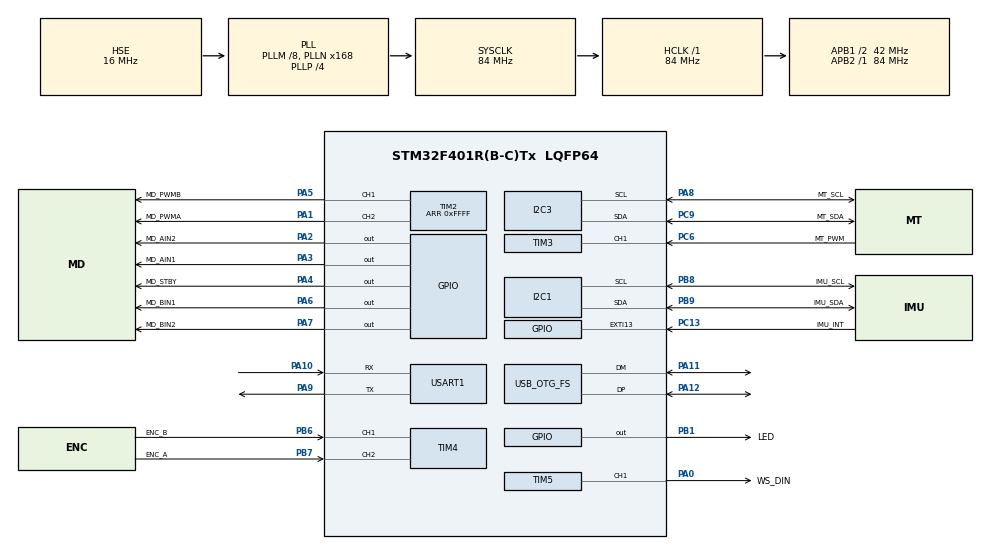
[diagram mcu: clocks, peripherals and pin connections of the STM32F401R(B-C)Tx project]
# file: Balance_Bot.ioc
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Dma.I2C1_RX.1.Direction=DMA_PERIPH_TO_MEMORY
Dma.I2C1_RX.1.FIFOMode=DMA_FIFOMODE_DISABLE
Dma.I2C1_RX.1.Instance=DMA1_Stream0
Dma.I2C1_RX.1.MemDataAlignment=DMA_MDATAALIGN_BYTE
Dma.I2C1_RX.1.MemInc=DMA_MINC_ENABLE
Dma.I2C1_RX.1.Mode=DMA_NORMAL
Dma.I2C1_RX.1.PeriphDataAlignment=DMA_PDATAALIGN_BYTE
Dma.I2C1_RX.1.PeriphInc=DMA_PINC_DISABLE
Dma.I2C1_RX.1.Priority=DMA_PRIORITY_LOW
Dma.I2C1_TX.0.Direction=DMA_MEMORY_TO_PERIPH
Dma.I2C1_TX.0.FIFOMode=DMA_FIFOMODE_DISABLE
Dma.I2C1_TX.0.Instance=DMA1_Stream6
Dma.I2C1_TX.0.MemDataAlignment=DMA_MDATAALIGN_BYTE
Dma.I2C1_TX.0.MemInc=DMA_MINC_ENABLE
Dma.I2C1_TX.0.Mode=DMA_NORMAL
Dma.I2C1_TX.0.PeriphDataAlignment=DMA_PDATAALIGN_BYTE
Dma.I2C1_TX.0.PeriphInc=DMA_PINC_DISABLE
Dma.I2C1_TX.0.Priority=DMA_PRIORITY_LOW
Dma.Request0=I2C1_TX
Dma.Request1=I2C1_RX
Dma.Request2=USART1_TX
Dma.USART1_TX.2.Direction=DMA_MEMORY_TO_PERIPH
Dma.USART1_TX.2.FIFOMode=DMA_FIFOMODE_DISABLE
Dma.USART1_TX.2.Instance=DMA2_Stream7
Dma.USART1_TX.2.MemDataAlignment=DMA_MDATAALIGN_BYTE
Dma.USART1_TX.2.MemInc=DMA_MINC_ENABLE
Dma.USART1_TX.2.Mode=DMA_NORMAL
Dma.USART1_TX.2.PeriphDataAlignment=DMA_PDATAALIGN_BYTE
Dma.USART1_TX.2.PeriphInc=DMA_PINC_DISABLE
Dma.USART1_TX.2.Priority=DMA_PRIORITY_LOW
I2C1.I2C_Mode=I2C_Fast
Mcu.Family=STM32F4
Mcu.Name=STM32F401R(B-C)Tx
Mcu.Package=LQFP64
Mcu.UserConstants=WS2812_0,29;WS2812_1,59;MT6701_MIN_PWM,10;MT6701_MAX_PWM,42155
NVIC.DMA1_Stream0_IRQn=true\:0\:0\:false\:false\:true\:false\:true\:true
NVIC.DMA1_Stream6_IRQn=true\:0\:0\:false\:false\:true\:false\:true\:true
NVIC.DMA2_Stream7_IRQn=true\:0\:0\:false\:false\:true\:false\:true\:true
NVIC.EXTI15_10_IRQn=true\:0\:0\:false\:false\:true\:true\:true\:true
NVIC.I2C1_ER_IRQn=true\:0\:0\:false\:false\:true\:true\:true\:true
NVIC.I2C1_EV_IRQn=true\:0\:0\:false\:false\:true\:true\:true\:true
NVIC.OTG_FS_IRQn=true\:0\:0\:false\:false\:true\:false\:true\:true
NVIC.PriorityGroup=NVIC_PRIORITYGROUP_4
NVIC.TIM3_IRQn=true\:0\:0\:false\:false\:true\:true\:true\:true
NVIC.TIM5_IRQn=true\:0\:0\:false\:false\:true\:true\:true\:true
NVIC.USART1_IRQn=true\:0\:0\:false\:false\:true\:true\:true\:true
PA0-WKUP.GPIO_Label=WS_DIN
PA0-WKUP.Signal=S_TIM5_CH1
PA1.GPIO_Label=MD_PWMA
PA1.Signal=S_TIM2_CH2
PA10.Mode=Asynchronous
PA10.Signal=USART1_RX
PA11.Mode=Device_Only
PA11.Signal=USB_OTG_FS_DM
PA12.Mode=Device_Only
PA12.Signal=USB_OTG_FS_DP
PA13.Mode=Serial_Wire
PA13.Signal=SYS_JTMS-SWDIO
PA14.Mode=Serial_Wire
PA14.Signal=SYS_JTCK-SWCLK
PA2.GPIO_Label=MD_AIN2
PA2.Signal=GPIO_Output
PA3.GPIO_Label=MD_AIN1
PA3.Signal=GPIO_Output
PA4.GPIO_Label=MD_STBY
PA4.Signal=GPIO_Output
PA5.GPIO_Label=MD_PWMB
PA5.Signal=S_TIM2_CH1_ETR
PA6.GPIO_Label=MD_BIN1
PA6.Signal=GPIO_Output
PA7.GPIO_Label=MD_BIN2
PA7.Signal=GPIO_Output
PA8.GPIO_Label=MT_SCL
PA8.Mode=I2C
PA8.Signal=I2C3_SCL
PA9.Mode=Asynchronous
PA9.Signal=USART1_TX
PB1.GPIO_Label=LED
PB1.Signal=GPIO_Output
PB6.GPIO_Label=ENC_B
PB6.Signal=S_TIM4_CH1
PB7.GPIO_Label=ENC_A
PB7.Signal=S_TIM4_CH2
PB8.GPIO_Label=IMU_SCL
PB8.Mode=I2C
PB8.Signal=I2C1_SCL
PB9.GPIO_Label=IMU_SDA
PB9.Mode=I2C
PB9.Signal=I2C1_SDA
PC13-ANTI_TAMP.GPIO_Label=IMU_INT
PC13-ANTI_TAMP.Signal=GPXTI13
PC6.GPIO_Label=MT_PWM
PC6.Signal=S_TIM3_CH1
PC9.GPIO_Label=MT_SDA
PC9.Mode=I2C
PC9.Signal=I2C3_SDA
PH0\ -\ OSC_IN.Mode=HSE-External-Oscillator
PH0\ -\ OSC_IN.Signal=RCC_OSC_IN
PH1\ -\ OSC_OUT.Mode=HSE-External-Oscillator
PH1\ -\ OSC_OUT.Signal=RCC_OSC_OUT
ProjectManager.HeapSize=0x200
ProjectManager.StackSize=0x400
ProjectManager.TargetToolchain=STM32CubeIDE
RCC.48MHZClocksFreq_Value=48000000
RCC.AHBFreq_Value=84000000
RCC.APB1CLKDivider=RCC_HCLK_DIV2
RCC.APB1Freq_Value=42000000
RCC.APB1TimFreq_Value=84000000
RCC.APB2Freq_Value=84000000
RCC.APB2TimFreq_Value=84000000
RCC.CortexFreq_Value=84000000
RCC.EnbaleCSS=true
RCC.HCLKFreq_Value=84000000
RCC.HSE_VALUE=16000000
RCC.HSI_VALUE=16000000
RCC.LSE_VALUE=32768
RCC.PLLM=8
RCC.PLLN=168
RCC.PLLP=RCC_PLLP_DIV4
RCC.PLLQ=7
RCC.SYSCLKFreq_VALUE=84000000
RCC.SYSCLKSource=RCC_SYSCLKSOURCE_PLLCLK
RCC.VCOOutputFreq_Value=336000000
SH.S_TIM2_CH1_ETR.0=TIM2_CH1,PWM Generation1 CH1
SH.S_TIM2_CH2.0=TIM2_CH2,PWM Generation2 CH2
SH.S_TIM3_CH1.0=TIM3_CH1,Input_Capture1_from_TI1
SH.S_TIM4_CH1.0=TIM4_CH1,Encoder_Interface
SH.S_TIM4_CH2.0=TIM4_CH2,Encoder_Interface
SH.S_TIM5_CH1.0=TIM5_CH1,PWM Generation1 CH1
TIM2.Channel-PWM\ Generation1\ CH1=TIM_CHANNEL_1
TIM2.Channel-PWM\ Generation2\ CH2=TIM_CHANNEL_2
TIM2.Period=0xFFFF
TIM3.Channel-Input_Capture1_from_TI1=TIM_CHANNEL_1
TIM3.Channel-Input_Capture2_from_TI1_63=TIM_CHANNEL_2
TIM3.ICPolarity_CH2=TIM_INPUTCHANNELPOLARITY_FALLING
TIM3.Prescaler=1
TIM5.Channel-PWM\ Generation1\ CH1=TIM_CHANNEL_1
TIM5.OCMode_PWM-PWM\ Generation1\ CH1=TIM_OCMODE_PWM2
TIM5.Period=105-1
USART1.VirtualMode=VM_ASYNC
USB_DEVICE.CLASS_NAME_FS=CDC
USB_DEVICE.USBD_MAX_STR_DESC_SIZ=1024
USB_DEVICE.VirtualMode=Cdc
USB_DEVICE.VirtualModeFS=Cdc_FS
USB_OTG_FS.VirtualMode=Device_Only
VP_TIM2_VS_ClockSourceINT.Mode=Internal
VP_TIM3_VS_ClockSourceINT.Mode=Internal
VP_TIM5_VS_ClockSourceINT.Mode=Internal
VP_TIM5_VS_OPM.Mode=OPM_bit
VP_USB_DEVICE_VS_USB_DEVICE_CDC_FS.Mode=CDC_FS
board=custom

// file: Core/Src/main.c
/* USER CODE BEGIN Header */
/**
  ******************************************************************************
  * @file           : main.c
  * @brief          : Main program body
  ******************************************************************************
  * @attention
  *
  * Copyright (c) 2026 STMicroelectronics.
  * All rights reserved.
  *
  * This software is licensed under terms that can be found in the LICENSE file
  * in the root directory of this software component.
  * If no LICENSE file comes with this software, it is provided AS-IS.
  *
  ******************************************************************************
  */
/* USER CODE END Header */
#include "main.h"
#include "usb_device.h"

/* USER CODE BEGIN Includes */

#include <stdio.h>
#include "WS2812.h"
#include "motor.h"
#include "usbd_cdc_if.h"
#include "MPU6050.h"

/* USER CODE END Includes */

/* USER CODE BEGIN PD */
#define AVERAGE_COUNT 512

#define ACCEL_OFFSET_X (243)
#define ACCEL_OFFSET_Y (-43)
#define ACCEL_OFFSET_Z (8192 - 9732)

#define GYRO_OFFSET_X (-420)
#define GYRO_OFFSET_Y (-240)
#define GYRO_OFFSET_Z (-13)

#define ACCEL_WEIGHT 5

/* USER CODE END PD */

I2C_HandleTypeDef hi2c1;
I2C_HandleTypeDef hi2c3;
DMA_HandleTypeDef hdma_i2c1_tx;
DMA_HandleTypeDef hdma_i2c1_rx;

TIM_HandleTypeDef htim2;
TIM_HandleTypeDef htim3;
TIM_HandleTypeDef htim4;
TIM_HandleTypeDef htim5;

UART_HandleTypeDef huart1;
DMA_HandleTypeDef hdma_usart1_tx;

void SystemClock_Config(void);
static void MX_GPIO_Init(void);
static void MX_DMA_Init(void);
static void MX_TIM5_Init(void);
static void MX_I2C1_Init(void);
static void MX_I2C3_Init(void);
static void MX_TIM2_Init(void);
static void MX_TIM3_Init(void);
static void MX_TIM4_Init(void);
static void MX_USART1_UART_Init(void);

/* USER CODE BEGIN 0 */

ws2812_t ws2812;

int32_t rot_enc_pos;

float hall_enc_angle;

motor_t motors[2];

mpu6050_t mpu;

uint8_t uart_rx_byte = 0;
char uart_tx_buffer[1024];

/* USER CODE END 0 */

int main(void)
{

  /* MCU Configuration--------------------------------------------------------*/

  /* Reset of all peripherals, Initializes the Flash interface and the Systick. */
  HAL_Init();

  /* Configure the system clock */
  SystemClock_Config();

  /* Initialize all configured peripherals */
  MX_GPIO_Init();
  MX_DMA_Init();
  MX_TIM5_Init();
  MX_I2C1_Init();
  MX_I2C3_Init();
  MX_TIM2_Init();
  MX_TIM3_Init();
  MX_TIM4_Init();
  MX_USART1_UART_Init();
  MX_USB_DEVICE_Init();
  /* USER CODE BEGIN 2 */

  // RGB Color cube vars
  const uint32_t color_cube_period = 10; // ms
  uint32_t color_cube_lasttime = 0;
  uint32_t cube_idx = 0;
  uint8_t colors[3] = {0};
  colors[0] = 255;
  ws2812_init(&ws2812, &htim5, 0);
  ws2812_set_color(&ws2812, colors[0], colors[1], colors[2]);

  // Hall encoder
  HAL_TIM_Encoder_Start_IT(&htim4, TIM_CHANNEL_ALL);

  // Mag encoder
  HAL_TIM_IC_Start(&htim3, TIM_CHANNEL_1);
  HAL_TIM_IC_Start_IT(&htim3, TIM_CHANNEL_2);

  // Motors
  motor_init(&(motors[0]), MD_AIN1_GPIO_Port, MD_AIN1_Pin, MD_AIN2_GPIO_Port, MD_AIN2_Pin, &htim2, 1, 0);
  motor_init(&(motors[1]), MD_BIN1_GPIO_Port, MD_BIN1_Pin, MD_BIN2_GPIO_Port, MD_BIN2_Pin, &htim2, 0, 1);
  HAL_GPIO_WritePin(MD_STBY_GPIO_Port, MD_STBY_Pin, 1);

  // MPU6050
  mpu6050_config_t mpu_config = {
		  .config = {
			  .Accel_Full_Scale = AFS_SEL_4g,
			  .CONFIG_DLPF = 6,
			  .ClockSource = 0,
			  .Gyro_Full_Scale = FS_SEL_500,
			  .Sleep_Mode_Bit = 0
		  },
		  .hi2c = &hi2c1,
		  .address = MPU_ADDR,
		  .accel_offset = {
				  .x = ACCEL_OFFSET_X,
				  .y = ACCEL_OFFSET_Y,
				  .z = ACCEL_OFFSET_Z
		  },
		  .gyro_offset = {
				  .x = GYRO_OFFSET_X,
				  .y = GYRO_OFFSET_Y,
				  .z = GYRO_OFFSET_Z
		  },
		  .accel_weight = ACCEL_WEIGHT,
		  .calibration_count = 1000
  };
  MPU6050_init(&mpu, &mpu_config);

  // UART RX
  HAL_UART_Receive_IT(&huart1, &uart_rx_byte, 1);

  int32_t motor_speed = 0;
  int32_t motor_turn = 0;
  const int32_t motor_speed_increment = 0x7FFF;

  uint32_t last_telem_time = 0;
  int16_t telem_counter = 0;
  const uint32_t telem_period = 250;

  /* USER CODE END 2 */

  /* Infinite loop */
  /* USER CODE BEGIN WHILE */
  while (1)
  {
	  uint32_t now_time = HAL_GetTick();
	  if(now_time - color_cube_lasttime > color_cube_period){
		  color_cube_lasttime = now_time;
		  uint32_t cube_idx_plus1 = (cube_idx >= 2) ? (0) : (cube_idx + 1);

		  if(colors[cube_idx] > 0) {
			  colors[cube_idx]--;
			  colors[cube_idx_plus1]++;
		  } else{
			  cube_idx = cube_idx_plus1;
		  }

		  ws2812_set_color(&ws2812, colors[0], colors[1], colors[2]);
	  }

	  if(mpu.calibration_done){
		  mpu.calibration_done = 0;
		  printf("Calibration done!\r\n");
		  HAL_Delay(2);
		  printf("\tAccel accumulators: %ld, %ld, %ld\r\n", mpu.accel_calibration_accumulator[0], mpu.accel_calibration_accumulator[1], mpu.accel_calibration_accumulator[2]);
		  HAL_Delay(2);
		  printf("\tGyro accumulators: %ld, %ld, %ld\r\n", mpu.gyro_calibration_accumulator[0], mpu.gyro_calibration_accumulator[1], mpu.gyro_calibration_accumulator[2]);
	  }

	  if(now_time - last_telem_time > telem_period){
		  last_telem_time = now_time;

		  float speed = 0;
		  float roll = 	mpu.current_angle.x;
		  float pitch = mpu.current_angle.y;

	      int len = snprintf(uart_tx_buffer, sizeof(uart_tx_buffer),
	                         "$%.2f,%.2f,%.2f,%d\r\n",
	                         speed, roll, pitch, telem_counter);
	      HAL_UART_Transmit_IT(&huart1, (uint8_t*)uart_tx_buffer, len);

	      telem_counter++;

	  }

	  if(uart_rx_byte){
		  switch(uart_rx_byte){
		  case 'w':
			  motor_speed += motor_speed_increment;
			  break;

		  case 's':
			  motor_speed -= motor_speed_increment;
			  break;

		  case 'a':
			  motor_turn += motor_speed_increment;
			  break;

		  case 'd':
			  motor_turn -= motor_speed_increment;
			  break;

		  case 'x':
			  motor_turn = 0;
			  motor_speed = 0;
			  break;
		  }

		  uart_rx_byte = 0;
		  set_speed(&motors[0], motor_speed - motor_turn);
		  set_speed(&motors[1], motor_speed + motor_turn);
	  }

    /* USER CODE END WHILE */

  }
}

void SystemClock_Config(void)
{
  RCC_OscInitTypeDef RCC_OscInitStruct = {0};
  RCC_ClkInitTypeDef RCC_ClkInitStruct = {0};

  /** Configure the main internal regulator output voltage
  */
  __HAL_RCC_PWR_CLK_ENABLE();
  __HAL_PWR_VOLTAGESCALING_CONFIG(PWR_REGULATOR_VOLTAGE_SCALE2);

  /** Initializes the RCC Oscillators according to the specified parameters
  * in the RCC_OscInitTypeDef structure.
  */
  RCC_OscInitStruct.OscillatorType = RCC_OSCILLATORTYPE_HSE;
  RCC_OscInitStruct.HSEState = RCC_HSE_ON;
  RCC_OscInitStruct.PLL.PLLState = RCC_PLL_ON;
  RCC_OscInitStruct.PLL.PLLSource = RCC_PLLSOURCE_HSE;
  RCC_OscInitStruct.PLL.PLLM = 8;
  RCC_OscInitStruct.PLL.PLLN = 168;
  RCC_OscInitStruct.PLL.PLLP = RCC_PLLP_DIV4;
  RCC_OscInitStruct.PLL.PLLQ = 7;
  if (HAL_RCC_OscConfig(&RCC_OscInitStruct) != HAL_OK)
  {
    Error_Handler();
  }

  /** Initializes the CPU, AHB and APB buses clocks
  */
  RCC_ClkInitStruct.ClockType = RCC_CLOCKTYPE_HCLK|RCC_CLOCKTYPE_SYSCLK
                              |RCC_CLOCKTYPE_PCLK1|RCC_CLOCKTYPE_PCLK2;
  RCC_ClkInitStruct.SYSCLKSource = RCC_SYSCLKSOURCE_PLLCLK;
  RCC_ClkInitStruct.AHBCLKDivider = RCC_SYSCLK_DIV1;
  RCC_ClkInitStruct.APB1CLKDivider = RCC_HCLK_DIV2;
  RCC_ClkInitStruct.APB2CLKDivider = RCC_HCLK_DIV1;

  if (HAL_RCC_ClockConfig(&RCC_ClkInitStruct, FLASH_LATENCY_2) != HAL_OK)
  {
    Error_Handler();
  }

  /** Enables the Clock Security System
  */
  HAL_RCC_EnableCSS();
}

static void MX_I2C1_Init(void)
{

  hi2c1.Instance = I2C1;
  hi2c1.Init.ClockSpeed = 400000;
  hi2c1.Init.DutyCycle = I2C_DUTYCYCLE_2;
  hi2c1.Init.OwnAddress1 = 0;
  hi2c1.Init.AddressingMode = I2C_ADDRESSINGMODE_7BIT;
  hi2c1.Init.DualAddressMode = I2C_DUALADDRESS_DISABLE;
  hi2c1.Init.OwnAddress2 = 0;
  hi2c1.Init.GeneralCallMode = I2C_GENERALCALL_DISABLE;
  hi2c1.Init.NoStretchMode = I2C_NOSTRETCH_DISABLE;
  if (HAL_I2C_Init(&hi2c1) != HAL_OK)
  {
    Error_Handler();
  }

}

static void MX_I2C3_Init(void)
{

  hi2c3.Instance = I2C3;
  hi2c3.Init.ClockSpeed = 100000;
  hi2c3.Init.DutyCycle = I2C_DUTYCYCLE_2;
  hi2c3.Init.OwnAddress1 = 0;
  hi2c3.Init.AddressingMode = I2C_ADDRESSINGMODE_7BIT;
  hi2c3.Init.DualAddressMode = I2C_DUALADDRESS_DISABLE;
  hi2c3.Init.OwnAddress2 = 0;
  hi2c3.Init.GeneralCallMode = I2C_GENERALCALL_DISABLE;
  hi2c3.Init.NoStretchMode = I2C_NOSTRETCH_DISABLE;
  if (HAL_I2C_Init(&hi2c3) != HAL_OK)
  {
    Error_Handler();
  }

}

static void MX_TIM2_Init(void)
{

  TIM_ClockConfigTypeDef sClockSourceConfig = {0};
  TIM_MasterConfigTypeDef sMasterConfig = {0};
  TIM_OC_InitTypeDef sConfigOC = {0};

  htim2.Instance = TIM2;
  htim2.Init.Prescaler = 0;
  htim2.Init.CounterMode = TIM_COUNTERMODE_UP;
  htim2.Init.Period = 0xFFFF;
  htim2.Init.ClockDivision = TIM_CLOCKDIVISION_DIV1;
  htim2.Init.AutoReloadPreload = TIM_AUTORELOAD_PRELOAD_DISABLE;
  if (HAL_TIM_Base_Init(&htim2) != HAL_OK)
  {
    Error_Handler();
  }
  sClockSourceConfig.ClockSource = TIM_CLOCKSOURCE_INTERNAL;
  if (HAL_TIM_ConfigClockSource(&htim2, &sClockSourceConfig) != HAL_OK)
  {
    Error_Handler();
  }
  if (HAL_TIM_PWM_Init(&htim2) != HAL_OK)
  {
    Error_Handler();
  }
  sMasterConfig.MasterOutputTrigger = TIM_TRGO_RESET;
  sMasterConfig.MasterSlaveMode = TIM_MASTERSLAVEMODE_DISABLE;
  if (HAL_TIMEx_MasterConfigSynchronization(&htim2, &sMasterConfig) != HAL_OK)
  {
    Error_Handler();
  }
  sConfigOC.OCMode = TIM_OCMODE_PWM1;
  sConfigOC.Pulse = 0;
  sConfigOC.OCPolarity = TIM_OCPOLARITY_HIGH;
  sConfigOC.OCFastMode = TIM_OCFAST_DISABLE;
  if (HAL_TIM_PWM_ConfigChannel(&htim2, &sConfigOC, TIM_CHANNEL_1) != HAL_OK)
  {
    Error_Handler();
  }
  if (HAL_TIM_PWM_ConfigChannel(&htim2, &sConfigOC, TIM_CHANNEL_2) != HAL_OK)
  {
    Error_Handler();
  }
  HAL_TIM_MspPostInit(&htim2);

}

static void MX_TIM3_Init(void)
{

  TIM_ClockConfigTypeDef sClockSourceConfig = {0};
  TIM_MasterConfigTypeDef sMasterConfig = {0};
  TIM_IC_InitTypeDef sConfigIC = {0};

  htim3.Instance = TIM3;
  htim3.Init.Prescaler = 1;
  htim3.Init.CounterMode = TIM_COUNTERMODE_UP;
  htim3.Init.Period = 65535;
  htim3.Init.ClockDivision = TIM_CLOCKDIVISION_DIV1;
  htim3.Init.AutoReloadPreload = TIM_AUTORELOAD_PRELOAD_DISABLE;
  if (HAL_TIM_Base_Init(&htim3) != HAL_OK)
  {
    Error_Handler();
  }
  sClockSourceConfig.ClockSource = TIM_CLOCKSOURCE_INTERNAL;
  if (HAL_TIM_ConfigClockSource(&htim3, &sClockSourceConfig) != HAL_OK)
  {
    Error_Handler();
  }
  if (HAL_TIM_IC_Init(&htim3) != HAL_OK)
  {
    Error_Handler();
  }
  sMasterConfig.MasterOutputTrigger = TIM_TRGO_RESET;
  sMasterConfig.MasterSlaveMode = TIM_MASTERSLAVEMODE_DISABLE;
  if (HAL_TIMEx_MasterConfigSynchronization(&htim3, &sMasterConfig) != HAL_OK)
  {
    Error_Handler();
  }
  sConfigIC.ICPolarity = TIM_INPUTCHANNELPOLARITY_RISING;
  sConfigIC.ICSelection = TIM_ICSELECTION_DIRECTTI;
  sConfigIC.ICPrescaler = TIM_ICPSC_DIV1;
  sConfigIC.ICFilter = 0;
  if (HAL_TIM_IC_ConfigChannel(&htim3, &sConfigIC, TIM_CHANNEL_1) != HAL_OK)
  {
    Error_Handler();
  }

}

static void MX_TIM4_Init(void)
{

  TIM_Encoder_InitTypeDef sConfig = {0};
  TIM_MasterConfigTypeDef sMasterConfig = {0};

  htim4.Instance = TIM4;
  htim4.Init.Prescaler = 0;
  htim4.Init.CounterMode = TIM_COUNTERMODE_UP;
  htim4.Init.Period = 65535;
  htim4.Init.ClockDivision = TIM_CLOCKDIVISION_DIV1;
  htim4.Init.AutoReloadPreload = TIM_AUTORELOAD_PRELOAD_DISABLE;
  sConfig.EncoderMode = TIM_ENCODERMODE_TI1;
  sConfig.IC1Polarity = TIM_ICPOLARITY_RISING;
  sConfig.IC1Selection = TIM_ICSELECTION_DIRECTTI;
  sConfig.IC1Prescaler = TIM_ICPSC_DIV1;
  sConfig.IC1Filter = 0;
  sConfig.IC2Polarity = TIM_ICPOLARITY_RISING;
  sConfig.IC2Selection = TIM_ICSELECTION_DIRECTTI;
  sConfig.IC2Prescaler = TIM_ICPSC_DIV1;
  sConfig.IC2Filter = 0;
  if (HAL_TIM_Encoder_Init(&htim4, &sConfig) != HAL_OK)
  {
    Error_Handler();
  }
  sMasterConfig.MasterOutputTrigger = TIM_TRGO_RESET;
  sMasterConfig.MasterSlaveMode = TIM_MASTERSLAVEMODE_DISABLE;
  if (HAL_TIMEx_MasterConfigSynchronization(&htim4, &sMasterConfig) != HAL_OK)
  {
    Error_Handler();
  }

}

static void MX_TIM5_Init(void)
{

  TIM_ClockConfigTypeDef sClockSourceConfig = {0};
  TIM_MasterConfigTypeDef sMasterConfig = {0};
  TIM_OC_InitTypeDef sConfigOC = {0};

  htim5.Instance = TIM5;
  htim5.Init.Prescaler = 0;
  htim5.Init.CounterMode = TIM_COUNTERMODE_UP;
  htim5.Init.Period = 105-1;
  htim5.Init.ClockDivision = TIM_CLOCKDIVISION_DIV1;
  htim5.Init.AutoReloadPreload = TIM_AUTORELOAD_PRELOAD_DISABLE;
  if (HAL_TIM_Base_Init(&htim5) != HAL_OK)
  {
    Error_Handler();
  }
  sClockSourceConfig.ClockSource = TIM_CLOCKSOURCE_INTERNAL;
  if (HAL_TIM_ConfigClockSource(&htim5, &sClockSourceConfig) != HAL_OK)
  {
    Error_Handler();
  }
  if (HAL_TIM_PWM_Init(&htim5) != HAL_OK)
  {
    Error_Handler();
  }
  if (HAL_TIM_OnePulse_Init(&htim5, TIM_OPMODE_SINGLE) != HAL_OK)
  {
    Error_Handler();
  }
  sMasterConfig.MasterOutputTrigger = TIM_TRGO_RESET;
  sMasterConfig.MasterSlaveMode = TIM_MASTERSLAVEMODE_DISABLE;
  if (HAL_TIMEx_MasterConfigSynchronization(&htim5, &sMasterConfig) != HAL_OK)
  {
    Error_Handler();
  }
  sConfigOC.OCMode = TIM_OCMODE_PWM2;
  sConfigOC.Pulse = 0;
  sConfigOC.OCPolarity = TIM_OCPOLARITY_HIGH;
  sConfigOC.OCFastMode = TIM_OCFAST_DISABLE;
  if (HAL_TIM_PWM_ConfigChannel(&htim5, &sConfigOC, TIM_CHANNEL_1) != HAL_OK)
  {
    Error_Handler();
  }
  HAL_TIM_MspPostInit(&htim5);

}

static void MX_USART1_UART_Init(void)
{

  huart1.Instance = USART1;
  huart1.Init.BaudRate = 115200;
  huart1.Init.WordLength = UART_WORDLENGTH_8B;
  huart1.Init.StopBits = UART_STOPBITS_1;
  huart1.Init.Parity = UART_PARITY_NONE;
  huart1.Init.Mode = UART_MODE_TX_RX;
  huart1.Init.HwFlowCtl = UART_HWCONTROL_NONE;
  huart1.Init.OverSampling = UART_OVERSAMPLING_16;
  if (HAL_UART_Init(&huart1) != HAL_OK)
  {
    Error_Handler();
  }

}

static void MX_DMA_Init(void)
{

  /* DMA controller clock enable */
  __HAL_RCC_DMA1_CLK_ENABLE();
  __HAL_RCC_DMA2_CLK_ENABLE();

  /* DMA interrupt init */
  /* DMA1_Stream0_IRQn interrupt configuration */
  HAL_NVIC_SetPriority(DMA1_Stream0_IRQn, 0, 0);
  HAL_NVIC_EnableIRQ(DMA1_Stream0_IRQn);
  /* DMA1_Stream6_IRQn interrupt configuration */
  HAL_NVIC_SetPriority(DMA1_Stream6_IRQn, 0, 0);
  HAL_NVIC_EnableIRQ(DMA1_Stream6_IRQn);
  /* DMA2_Stream7_IRQn interrupt configuration */
  HAL_NVIC_SetPriority(DMA2_Stream7_IRQn, 0, 0);
  HAL_NVIC_EnableIRQ(DMA2_Stream7_IRQn);

}

static void MX_GPIO_Init(void)
{
  GPIO_InitTypeDef GPIO_InitStruct = {0};

  /* GPIO Ports Clock Enable */
  __HAL_RCC_GPIOC_CLK_ENABLE();
  __HAL_RCC_GPIOH_CLK_ENABLE();
  __HAL_RCC_GPIOA_CLK_ENABLE();
  __HAL_RCC_GPIOB_CLK_ENABLE();

  /*Configure GPIO pin Output Level */
  HAL_GPIO_WritePin(GPIOA, MD_AIN2_Pin|MD_AIN1_Pin|MD_STBY_Pin|MD_BIN1_Pin
                          |MD_BIN2_Pin, GPIO_PIN_RESET);

  /*Configure GPIO pin Output Level */
  HAL_GPIO_WritePin(LED_GPIO_Port, LED_Pin, GPIO_PIN_RESET);

  /*Configure GPIO pin : IMU_INT_Pin */
  GPIO_InitStruct.Pin = IMU_INT_Pin;
  GPIO_InitStruct.Mode = GPIO_MODE_IT_RISING;
  GPIO_InitStruct.Pull = GPIO_NOPULL;
  HAL_GPIO_Init(IMU_INT_GPIO_Port, &GPIO_InitStruct);

  /*Configure GPIO pins : MD_AIN2_Pin MD_AIN1_Pin MD_STBY_Pin MD_BIN1_Pin
                           MD_BIN2_Pin */
  GPIO_InitStruct.Pin = MD_AIN2_Pin|MD_AIN1_Pin|MD_STBY_Pin|MD_BIN1_Pin
                          |MD_BIN2_Pin;
  GPIO_InitStruct.Mode = GPIO_MODE_OUTPUT_PP;
  GPIO_InitStruct.Pull = GPIO_NOPULL;
  GPIO_InitStruct.Speed = GPIO_SPEED_FREQ_LOW;
  HAL_GPIO_Init(GPIOA, &GPIO_InitStruct);

  /*Configure GPIO pin : LED_Pin */
  GPIO_InitStruct.Pin = LED_Pin;
  GPIO_InitStruct.Mode = GPIO_MODE_OUTPUT_PP;
  GPIO_InitStruct.Pull = GPIO_NOPULL;
  GPIO_InitStruct.Speed = GPIO_SPEED_FREQ_LOW;
  HAL_GPIO_Init(LED_GPIO_Port, &GPIO_InitStruct);

  /* EXTI interrupt init*/
  HAL_NVIC_SetPriority(EXTI15_10_IRQn, 0, 0);
  HAL_NVIC_EnableIRQ(EXTI15_10_IRQn);

}

/* USER CODE BEGIN 4 */
void HAL_TIM_PeriodElapsedCallback(TIM_HandleTypeDef *htim){
	if(htim->Instance == htim5.Instance){
		ws2812_callback(&ws2812);
	}
}

int _write(int file, char *ptr, int len) {
    CDC_Transmit_FS((uint8_t*) ptr, len);
    return len;
}

void HAL_TIM_IC_CaptureCallback(TIM_HandleTypeDef* htim){
	if(htim->Instance == htim4.Instance){ // Rotary encoder
		uint32_t counter = __HAL_TIM_GET_COUNTER(htim);
		rot_enc_pos = (int32_t)counter;

	} else if(htim->Instance == htim3.Instance){ //
		// Channel 2 is falling edge
		// Channel 1 is rising edge
		// Channel 2 is indirect mode and captures off channel 1
		// Interrupt triggers on channel 2 so we know both channels have the correct captured value
		uint16_t dist = ((uint16_t)HAL_TIM_ReadCapturedValue(htim, TIM_CHANNEL_2)) - ((uint16_t)HAL_TIM_ReadCapturedValue(htim, TIM_CHANNEL_1));

		if(dist < MT6701_MIN_PWM) return; // Invalid

		hall_enc_angle = ((float)(dist - MT6701_MIN_PWM))/((float)(MT6701_MAX_PWM - MT6701_MIN_PWM))*360.0f;
	}
}

void HAL_GPIO_EXTI_Callback(uint16_t GPIO_Pin){
	MPU6050_rdy_isr(&mpu);
}

void HAL_I2C_MasterTxCpltCallback(I2C_HandleTypeDef *hi2c){
	MPU6050_dma_tx_isr(&mpu);
}

void HAL_I2C_MasterRxCpltCallback(I2C_HandleTypeDef *hi2c){
	MPU6050_dma_rx_isr(&mpu);
}

// UART receive complete callback function to control the robot based on received byte
void HAL_UART_RxCpltCallback(UART_HandleTypeDef *huart)
{
    if (huart->Instance == USART1)
    {
        HAL_UART_Receive_IT(&huart1, &uart_rx_byte, 1);
    }
}

/* USER CODE END 4 */

void Error_Handler(void)
{
  __disable_irq();
  while (1)
  {
  }
}
